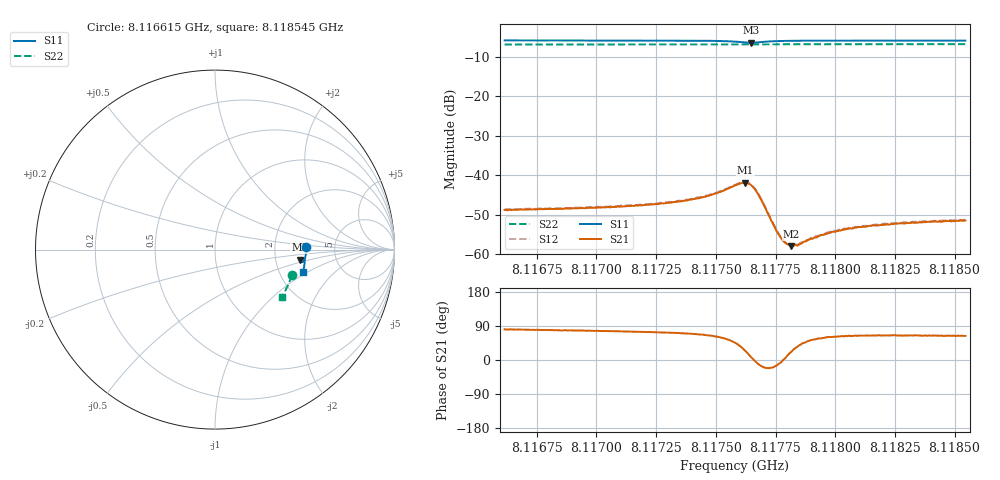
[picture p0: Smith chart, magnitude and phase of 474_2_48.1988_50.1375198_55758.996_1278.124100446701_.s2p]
#  HZ  S  RI  R  50.00
! Rohde & Schwarz Vector Network Analyzer
! Rohde-Schwarz,ZNB20-2Port,1311601062101988,3.16
! Created: UTC 3/20/2024, 11:57:16 AM
! freq[Hz]  re:S11  im:S11  re:S21  im:S21  re:S12  im:S12  re:S22  im:S22
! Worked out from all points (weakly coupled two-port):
!   401 points, 8.116615 GHz to 8.118545 GHz, reference 50 ohm
!   highest |S21| = -41.89 dB at 8.117624 GHz (marker M1); lowest = -57.9 dB at 8.117817 GHz (marker M2)
!   lowest |S11| = -6.5 dB at 8.117648 GHz (marker M3), VSWR 2.81, Z = 137 - j19.8 ohm
!   |S11| at or under -10 dB: nowhere
!   |S22| runs from -6.9 to -6.8 dB; largest |S21 - S12| = 0.0002
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8.1166151e9  0.5072 0.0133  0.000575 0.0036  0.000634 0.00365  0.4271 -0.1429
8.1169384e9  0.5066 -0.0117  0.000816 0.00374  0.000877 0.00379  0.4203 -0.1644
8.1172618e9  0.5043 -0.0377  0.00127 0.00415  0.00135 0.00423  0.4125 -0.1855
8.1173583e9  0.5028 -0.0464  0.00158 0.00444  0.00163 0.0045  0.4097 -0.1917
8.11745e9  0.5 -0.0556  0.00211 0.00489  0.00218 0.00496  0.4071 -0.1976
8.1175127e9  0.4959 -0.0627  0.00299 0.0053  0.00311 0.00538  0.4052 -0.2018
8.1175803e9  0.4856 -0.0693  0.00519 0.00528  0.00534 0.00537  0.4027 -0.206
8.1176237e9  0.4738 -0.0648  0.00735 0.00328  0.00749 0.0033  0.401 -0.2083
8.1176478e9  0.4716 -0.056  0.00743 0.000972  0.00756 0.000958  0.4003 -0.2092
8.1176671e9  0.475 -0.0496  0.00638 -0.000566  0.00657 -0.000621  0.4001 -0.2103
8.1176816e9  0.4794 -0.0471  0.0053 -0.00116  0.00542 -0.00127  0.3999 -0.2109
8.1177443e9  0.4939 -0.0516  0.00215 -0.000685  0.00219 -0.000755  0.3987 -0.2151
8.1177685e9  0.4961 -0.0551  0.00167 -0.000235  0.00168 -0.000248  0.398 -0.2169
8.1177878e9  0.4974 -0.058  0.00144 7.87e-05  0.00142 3.56e-05  0.3975 -0.2182
8.1178167e9  0.4985 -0.0617  0.00118 0.000467  0.00121 0.00047  0.3966 -0.2199
8.1178505e9  0.499 -0.0657  0.00104 0.000848  0.00106 0.000859  0.3955 -0.2223
8.1179036e9  0.4992 -0.0714  0.000942 0.00125  0.000959 0.0013  0.3938 -0.2256
8.1179711e9  0.4988 -0.0779  0.000892 0.00161  0.000976 0.00164  0.3916 -0.2296
8.1180291e9  0.4983 -0.0831  0.000919 0.00182  0.00097 0.00184  0.3896 -0.2335
8.1180918e9  0.4976 -0.0884  0.00096 0.00196  0.001 0.00198  0.3874 -0.2372
8.1182269e9  0.4957 -0.0992  0.00101 0.00216  0.00104 0.00223  0.3827 -0.2454
8.1185454e9  0.4901 -0.1233  0.00119 0.00239  0.00124 0.00245  0.371 -0.2645
